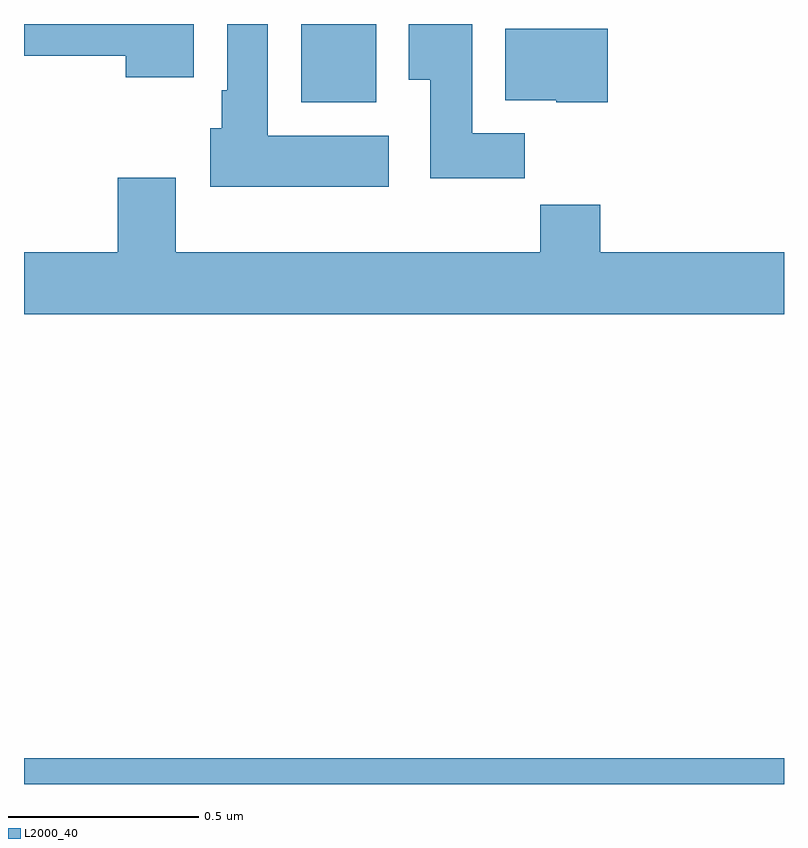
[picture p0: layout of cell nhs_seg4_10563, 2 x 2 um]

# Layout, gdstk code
import gdstk
lib = gdstk.Library(unit=1e-6, precision=1e-09)
def R(c, l, rs):  # rectangles x0, y0, x1, y1
    for r in rs: c.add(gdstk.rectangle(r[:2], r[2:], *l))
def P(c, l, *ps):  # polygons
    for p in ps: c.add(gdstk.Polygon(p, *l))
L2000_40 = (2000, 40)

nhs_seg4_10563 = lib.new_cell('nhs_seg4_10563')
R(nhs_seg4_10563, L2000_40, [(241,812.9,243,812.968), (241.73,814.694,241.927,814.9)])
P(nhs_seg4_10563, L2000_40, [(241.447,814.9),(241,814.9),(241,814.816),(241.268,814.816),(241.268,814.76),(241.447,814.76)],
  [(242.318,814.612),(242.179,814.612),(242.179,814.9),(242.012,814.9),(242.012,814.753),(242.069,814.753),(242.069,814.494),(242.318,814.494)],
  [(241.96,814.606),(241.642,814.606),(241.642,814.9),(241.535,814.9),(241.535,814.726),(241.52,814.726),(241.52,814.626),(241.49,814.626),(241.49,814.472),(241.96,814.472)],
  [(242.536,814.888),(242.267,814.888),(242.267,814.7),(242.4,814.7),(242.4,814.694),(242.536,814.694)],
  [(243,814.3),(242.516,814.3),(242.516,814.424),(242.359,814.424),(242.359,814.3),(241.399,814.3),(241.399,814.495),(241.247,814.495),(241.247,814.3),(241,814.3),(241,814.136),(243,814.136)])

lib.write_gds('nhs_seg4_10563.gds')
